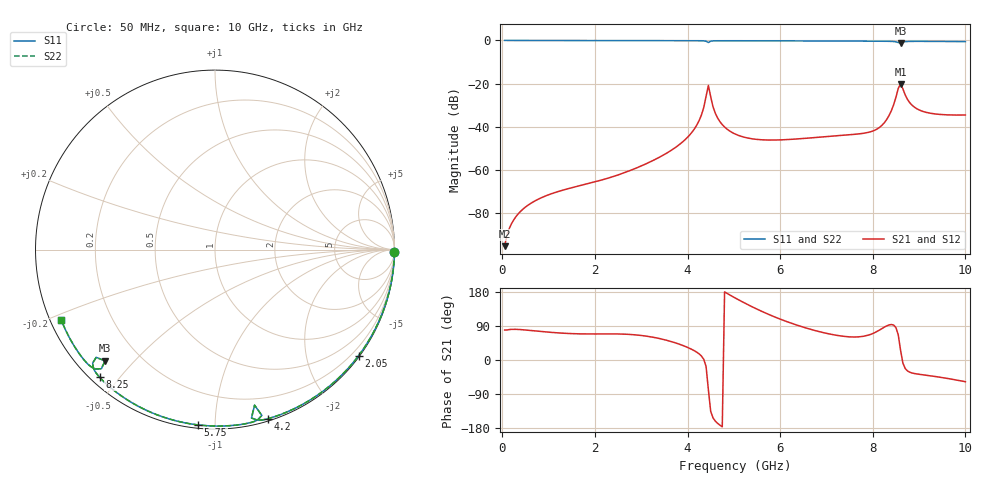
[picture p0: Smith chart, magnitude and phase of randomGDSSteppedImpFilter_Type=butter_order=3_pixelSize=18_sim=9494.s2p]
! freq	dB(S11)	phase(S11)	dB(S12)	phase(S12)
!  dB(S21)	phase(S21)	dB(S22)	phase(S22)
!S-par simulation data
#  GHz  S  DB  R 50
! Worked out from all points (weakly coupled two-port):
!   200 points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, 50 MHz to 10 GHz, reference 50 ohm
!   highest |S21| = -20.09 dB at 8.6 GHz (marker M1); lowest = -95.2 dB at 50 MHz (marker M2)
!   lowest |S11| = -1.2 dB at 8.6 GHz (marker M3), VSWR 14.43, Z = 4.07 - j20.8 ohm
!   |S11| at or under -10 dB: nowhere
!   |S22| runs from -1.2 to 0.0 dB; largest |S21 - S12| = 0
!   S11 on the Smith chart (normalised r, x): 50 MHz: open; 2.05 GHz: 0.03, -3.04; 4.2 GHz: 0.02, -1.36; 5.75 GHz: 0.02, -0.91; 8.25 GHz: 0.03, -0.44; 10 GHz: 0.03, -0.22
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0.05  -0.00 -0.9  -95.24 79.2  -95.24 79.2  -0.00 -0.9
0.35  -0.00 -6.3  -80.13 80.6  -80.13 80.6  -0.00 -6.3
0.85  -0.02 -15.3  -72.75 75.1  -72.75 75.1  -0.02 -15.3
1.75  -0.04 -31.2  -66.82 68.8  -66.82 68.8  -0.04 -31.2
2.05  -0.05 -36.4  -65.17 68.8  -65.17 68.8  -0.05 -36.4
3.4  -0.08 -59.2  -53.99 56.5  -53.99 56.5  -0.08 -59.2
3.9  -0.09 -67.5  -46.86 38.3  -46.86 38.3  -0.09 -67.5
4.2  -0.11 -72.7  -39.17 20.6  -39.17 20.6  -0.11 -72.7
4.35  -0.18 -76.0  -31.04 1.8  -31.04 1.8  -0.18 -76.0
4.45  -0.97 -75.7  -20.81 -78.4  -20.81 -78.4  -0.97 -75.7
4.55  -0.20 -75.9  -30.68 -152.7  -30.68 -152.7  -0.20 -75.9
4.65  -0.14 -78.2  -35.92 -167.2  -35.92 -167.2  -0.14 -78.2
5.05  -0.14 -84.9  -43.49 162.3  -43.49 162.3  -0.14 -84.9
5.75  -0.16 -95.6  -46.10 120.4  -46.10 120.4  -0.16 -95.6
6.7  -0.22 -109.5  -45.04 79.5  -45.04 79.5  -0.22 -109.5
7.9  -0.31 -126.8  -42.57 65.5  -42.57 65.5  -0.31 -126.8
8.25  -0.37 -132.1  -38.07 86.7  -38.07 86.7  -0.37 -132.1
8.35  -0.40 -133.9  -34.81 92.5  -34.81 92.5  -0.40 -133.8
8.6  -1.21 -134.6  -20.09 25.9  -20.09 25.9  -1.20 -134.7
8.8  -0.43 -137.4  -28.86 -32.3  -28.86 -32.3  -0.42 -137.4
9  -0.41 -140.8  -32.16 -37.7  -32.16 -37.7  -0.41 -140.9
10  -0.52 -155.5  -34.51 -57.3  -34.51 -57.3  -0.52 -155.5
